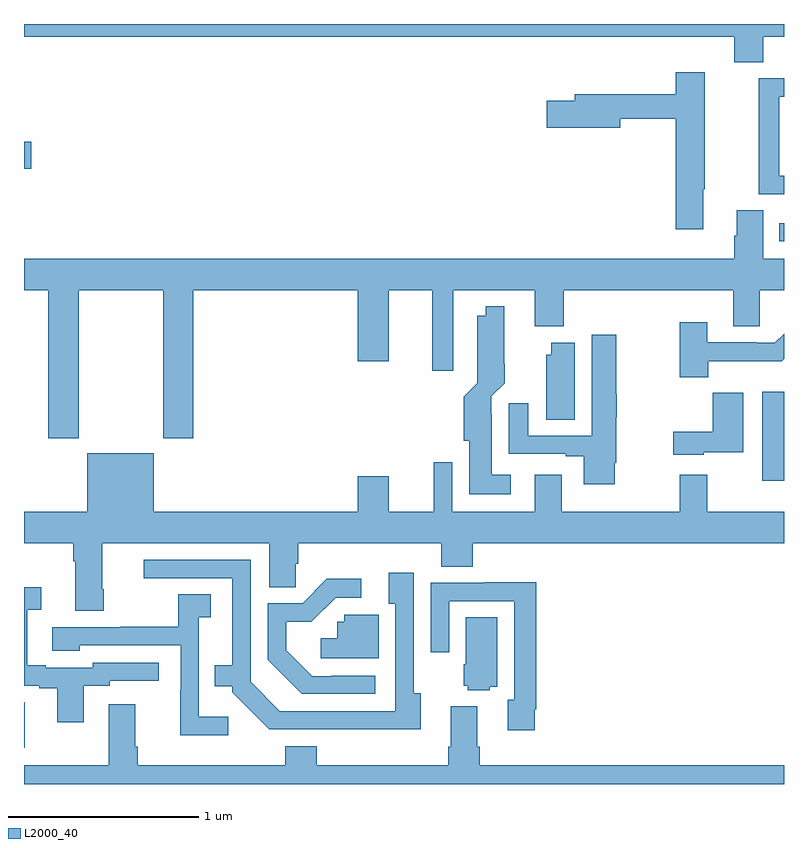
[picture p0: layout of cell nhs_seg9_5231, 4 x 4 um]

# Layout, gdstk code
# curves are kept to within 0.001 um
import gdstk
lib = gdstk.Library(unit=1e-6, precision=1e-09)
def R(c, l, rs):  # rectangles x0, y0, x1, y1
    for r in rs: c.add(gdstk.rectangle(r[:2], r[2:], *l))
def P(c, l, *ps):  # polygons
    for p in ps: c.add(gdstk.Polygon(p, *l))
L2000_40 = (2000, 40)

nhs_seg9_5231 = lib.new_cell('nhs_seg9_5231')
R(nhs_seg9_5231, L2000_40, [(415,1180.692,415.003,1180.931), (418.886,1182.096,419,1182.565), (418.976,1183.356,419,1183.452), (415,1183.738,415.039,1183.88)])
P(nhs_seg9_5231, L2000_40, [(418.891,1184.432),(419,1184.432),(419,1184.5),(415,1184.5),(415,1184.432),(418.739,1184.432),(418.739,1184.299),(418.891,1184.299)],
  [(418.576,1183.631),(418.584,1183.631),(418.584,1184.245),(418.43,1184.245),(418.43,1184.131),(417.899,1184.131),(417.899,1184.097),(417.75,1184.097),(417.75,1183.955),(418.138,1183.955),(418.138,1184.002),(418.43,1184.002),(418.43,1183.419),(418.576,1183.419)],
  [(419,1183.701),(418.974,1183.701),(418.974,1184.118),(419,1184.118),(419,1184.214),(418.866,1184.214),(418.866,1183.605),(419,1183.605)],
  [(415.287,1183.1),(415.732,1183.1),(415.732,1182.321),(415.892,1182.321),(415.892,1183.1),(416.756,1183.1),(416.756,1182.726),(416.92,1182.726),(416.92,1183.1),(417.149,1183.1),(417.149,1182.675),(417.259,1182.675),(417.259,1183.1),(417.689,1183.1),(417.689,1182.908),(417.842,1182.908),(417.842,1183.1),(418.733,1183.1),(418.733,1182.91),(418.873,1182.91),(418.873,1183.1),(419,1183.1),(419,1183.264),(418.891,1183.264),(418.891,1183.52),(418.751,1183.52),(418.751,1183.386),(418.739,1183.386),(418.739,1183.264),(415,1183.264),(415,1183.1),(415.127,1183.1),(415.127,1182.321),(415.287,1182.321)],
  [(417.562,1182.127),(417.463,1182.127),(417.463,1182.446),(417.459,1182.446),(417.459,1182.54),(417.529,1182.61),(417.528,1183.015),(417.431,1183.015),(417.431,1182.964),(417.386,1182.964),(417.386,1182.61),(417.314,1182.538),(417.314,1182.306),(417.344,1182.306),(417.344,1182.026),(417.562,1182.026)],
  [(418.6,1182.726),(418.989,1182.726),(419,1182.737),(419,1182.87),(418.952,1182.822),(418.853,1182.822),(418.853,1182.825),(418.597,1182.825),(418.597,1182.931),(418.45,1182.931),(418.45,1182.641),(418.6,1182.641)],
  [(418.108,1182.19),(418.116,1182.19),(418.116,1182.43),(418.121,1182.43),(418.121,1182.552),(418.116,1182.552),(418.116,1182.865),(417.989,1182.865),(417.989,1182.333),(417.655,1182.333),(417.655,1182.505),(417.551,1182.505),(417.551,1182.237),(417.851,1182.237),(417.851,1182.225),(417.947,1182.225),(417.947,1182.078),(418.108,1182.078)],
  [(417.898,1182.823),(417.776,1182.823),(417.776,1182.759),(417.749,1182.759),(417.749,1182.418),(417.898,1182.418)],
  [(418.578,1182.245),(418.786,1182.245),(418.786,1182.559),(418.624,1182.559),(418.624,1182.355),(418.416,1182.355),(418.416,1182.233),(418.578,1182.233)],
  [(417.088,1180.978),(417.051,1180.978),(417.051,1181.611),(416.921,1181.611),(416.921,1181.45),(416.955,1181.45),(416.955,1180.884),(416.346,1180.884),(416.193,1181.037),(416.193,1181.679),(415.629,1181.679),(415.629,1181.583),(416.096,1181.583),(416.096,1181.125),(416.005,1181.125),(416.005,1181.015),(416.097,1181.015),(416.097,1180.983),(416.292,1180.788),(417.088,1180.787)],
  [(416.848,1181.07),(416.617,1181.07),(416.617,1181.067),(416.517,1181.067),(416.38,1181.204),(416.38,1181.354),(416.513,1181.354),(416.64,1181.481),(416.776,1181.481),(416.776,1181.579),(416.594,1181.579),(416.466,1181.451),(416.283,1181.451),(416.283,1181.153),(416.462,1180.974),(416.848,1180.974)],
  [(417.688,1180.894),(417.695,1180.894),(417.695,1181.563),(417.425,1181.563),(417.425,1181.559),(417.141,1181.559),(417.141,1181.193),(417.237,1181.193),(417.237,1181.463),(417.579,1181.463),(417.579,1180.943),(417.545,1180.943),(417.545,1180.782),(417.688,1180.782)],
  [(415.315,1181.016),(415.452,1181.016),(415.452,1181.043),(415.708,1181.043),(415.708,1181.139),(415.362,1181.139),(415.362,1181.112),(415.114,1181.112),(415.114,1181.125),(415.018,1181.125),(415.018,1181.416),(415.09,1181.416),(415.09,1181.536),(415,1181.536),(415,1181.016),(415.079,1181.016),(415.079,1181.004),(415.175,1181.004),(415.175,1180.824),(415.315,1180.824)],
  [(416.291,1181.768),(416.291,1181.536),(416.429,1181.536),(416.429,1181.658),(416.444,1181.658),(416.444,1181.768),(417.197,1181.768),(417.197,1181.644),(417.362,1181.644),(417.362,1181.768),(419,1181.768),(419,1181.932),(418.597,1181.932),(418.597,1182.127),(418.45,1182.127),(418.45,1181.932),(417.829,1181.932),(417.829,1182.127),(417.689,1182.127),(417.689,1181.932),(417.255,1181.932),(417.255,1182.193),(417.157,1182.193),(417.157,1181.932),(416.92,1181.932),(416.92,1182.121),(416.756,1182.121),(416.756,1181.932),(415.684,1181.932),(415.684,1182.241),(415.334,1182.241),(415.334,1181.932),(415,1181.932),(415,1181.768),(415.259,1181.768),(415.259,1181.672),(415.271,1181.672),(415.271,1181.412),(415.419,1181.412),(415.419,1181.524),(415.411,1181.524),(415.411,1181.768)],
  [(416.074,1180.855),(415.92,1180.855),(415.92,1181.377),(415.984,1181.377),(415.984,1181.498),(415.812,1181.498),(415.812,1181.328),(415.507,1181.328),(415.507,1181.325),(415.149,1181.325),(415.149,1181.201),(415.293,1181.201),(415.293,1181.229),(415.824,1181.229),(415.824,1180.997),(415.822,1180.997),(415.822,1180.757),(416.074,1180.757)],
  [(416.866,1181.391),(416.685,1181.391),(416.685,1181.355),(416.649,1181.355),(416.649,1181.266),(416.562,1181.266),(416.562,1181.163),(416.866,1181.163)],
  [(417.45,1181.012),(417.49,1181.012),(417.49,1181.378),(417.326,1181.378),(417.326,1181.13),(417.314,1181.13),(417.314,1181.016),(417.336,1181.016),(417.336,1180.994),(417.45,1180.994)],
  [(419,1180.6),(417.398,1180.6),(417.398,1180.696),(417.385,1180.696),(417.385,1180.909),(417.245,1180.909),(417.245,1180.696),(417.233,1180.696),(417.233,1180.6),(416.54,1180.6),(416.54,1180.699),(416.375,1180.699),(416.375,1180.6),(415.598,1180.6),(415.598,1180.696),(415.585,1180.696),(415.585,1180.921),(415.445,1180.921),(415.445,1180.6),(415,1180.6),(415,1180.5),(419,1180.5)])

lib.write_gds('nhs_seg9_5231.gds')
